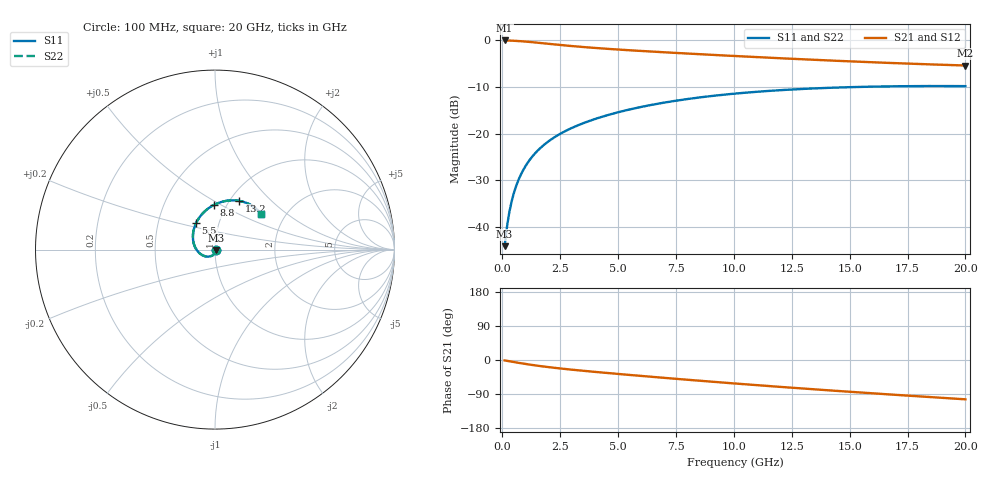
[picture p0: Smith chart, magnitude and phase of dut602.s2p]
! Touchstone file exported from HFSS 2024.1.0
!  File:  C:/UserFiles/LocalFiles/RDL_TSV_Batchsim/temp_RDL_TSV_602_1779797129.aedt
!  Generated:  08:22:37 PM May 26, 2026
!  Design:  RDL_TSV
!  Project:  temp_RDL_TSV_602_1779797129
!  Setup:  Setup1
!  Solution:  Sweep
! Variables:
!  dtsv = 9.37um
!  hbump = 3um
!  htsv = 83.26um
!  ldown = 174.83um
!  lrdl = 153.01um
!  p = 40
!  p1 = 54.89um
!  rhole = 10um
!  subl = 1136.53um
!  t = 450um
!  tdown = 4.46um
!  trdl = 4.72um
!  viad = 10um
!  wdown = 27.03um
!  wrdl = 29.22um
!  xbump = 18um
# GHz S MA R 50.000000
! Terminal data exported
! Port[1] = TM1_1_T1
! Port[2] = TM1_4_T1
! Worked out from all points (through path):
!   200 points, 100 MHz to 20 GHz, reference 50 ohm
!   highest |S21| = -0.04 dB at 100 MHz (marker M1); lowest = -5.4 dB at 20 GHz (marker M2)
!   group delay of S21, straight-line fit = 13.5 ps
!   lowest |S11| = -44.1 dB at 100 MHz (marker M3), VSWR 1.01, Z = 50.4 - j0.467 ohm
!   |S11| at or under -10 dB: start of sweep to 15.37 GHz
!   |S22| runs from -44.1 to -9.8 dB; largest |S21 - S12| = 9.1e-15
!   S11 on the Smith chart (normalised r, x): 100 MHz: 1.01, -0.01; 5.5 GHz: 0.78, +0.24; 8.8 GHz: 0.87, +0.46; 13.2 GHz: 1.10, +0.66; 20 GHz: 1.50, +0.67
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0.1  0.006228 -48.0  0.9952 -1.1  0.9952 -1.1  0.006228 -48.0
! Gamma 0 0 0 0
! Port Impedance 50 0 50 0
0.2  0.009971 -70.1  0.994 -2.2  0.994 -2.2  0.009971 -70.1
0.3  0.01424 -82.4  0.9923 -3.3  0.9923 -3.3  0.01424 -82.4
0.4  0.01866 -91.0  0.9902 -4.4  0.9902 -4.4  0.01866 -91.0
0.5  0.02311 -98.0  0.9876 -5.4  0.9876 -5.4  0.02311 -98.0
0.7  0.03195 -109.6  0.981 -7.5  0.981 -7.5  0.03195 -109.6
0.8  0.03629 -114.7  0.9772 -8.5  0.9772 -8.5  0.03629 -114.7
1  0.04478 -124.0  0.9685 -10.4  0.9685 -10.4  0.04478 -124.0
1.4  0.06089 -140.5  0.9483 -14.1  0.9483 -14.1  0.06089 -140.5
1.7  0.07218 -151.5  0.9321 -16.5  0.9321 -16.5  0.07218 -151.5
2  0.08285 -161.6  0.9159 -18.8  0.9159 -18.8  0.08285 -161.6
2.7  0.1057 178.1  0.8805 -23.7  0.8805 -23.7  0.1057 178.1
3.5  0.1294 159.2  0.8459 -28.5  0.8459 -28.5  0.1294 159.2
4.4  0.1539 142.1  0.8138 -33.6  0.8138 -33.6  0.1539 142.1
5.5  0.1815 125.5  0.7811 -39.5  0.7811 -39.5  0.1814 125.5
6.8  0.2108 109.9  0.7479 -46.2  0.7479 -46.2  0.2108 109.9
8.8  0.2489 91.4  0.7032 -56.1  0.7032 -56.1  0.2489 91.4
10.1  0.269 81.8  0.6769 -62.3  0.6769 -62.3  0.269 81.8
13.2  0.3029 63.7  0.6217 -76.2  0.6217 -76.2  0.3028 63.7
13.4  0.3044 62.7  0.6185 -77.1  0.6185 -77.1  0.3044 62.7
16.7  0.3208 48.7  0.5719 -90.8  0.5719 -90.8  0.3208 48.7
20  0.3226 38.1  0.5365 -103.8  0.5365 -103.8  0.3225 38.1
